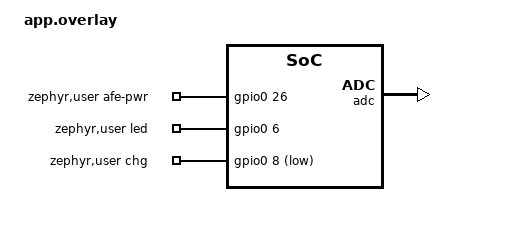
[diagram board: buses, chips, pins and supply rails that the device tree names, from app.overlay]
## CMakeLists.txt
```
#
# Discrete potentiostat firmware (nRF52832 SAADC, NCS)
# 3전극 정전위 크로노암페로메트리 — AD5941 없이 SAADC 직접측정
#
cmake_minimum_required(VERSION 3.20.0)

find_package(Zephyr REQUIRED HINTS $ENV{ZEPHYR_BASE})
project(discrete_pstat)

target_sources(app PRIVATE
	src/main.c
	src/meas.c                 # SAADC 측정 엔진 + AFE 전원 + 배터리
	src/store.c                # rf/os/cal NVM 영속화 (settings)
	src/databuf.c              # 무손실 데이터 버퍼 (AD5941 버전 재사용)
	src/flog.c                 # 플래시 오프라인 백로그 (웨어러블 동기화)
	src/cmd.c                  # JSON 명령 파서 (rf/os/zero/cal 확장)
)
```

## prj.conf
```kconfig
# ============================================================
#  디스크리트 포텐쇼스탯 (nRF52832 SAADC 직접측정)
#  BLE NUS 스트리밍 + RTT 로그 + NVM 설정 저장
# ============================================================

# ---- Bluetooth (BLE NUS) : AD5941 버전과 동일 구조 ----
CONFIG_BT=y
CONFIG_BT_PERIPHERAL=y
CONFIG_BT_DEVICE_NAME="pstat"
CONFIG_BT_NUS=y

# MTU / throughput (샘플 배치 한 줄이 기본 MTU 20B 를 넘으므로 크게)
CONFIG_BT_L2CAP_TX_MTU=247
CONFIG_BT_BUF_ACL_TX_SIZE=251
CONFIG_BT_BUF_ACL_RX_SIZE=251
CONFIG_BT_CTLR_DATA_LENGTH_MAX=251
CONFIG_BT_GATT_CLIENT=y

# HFXO 시동 대기시간 여유 (AD5941 보드 이력 계승 — 안전값)
CONFIG_MPSL_HFCLK_LATENCY=5000

# ---- Peripherals ----
CONFIG_GPIO=y
CONFIG_ADC=y
# SPI 없음 (AD5941 제거) — 명시적으로 끔
CONFIG_SPI=n
CONFIG_SERIAL=n

# ---- 부동소수점 (전류 환산/캘리브레이션) ----
CONFIG_FPU=y
CONFIG_CBPRINTF_FP_SUPPORT=y

# ---- LFCLK: 32.768kHz 크리스탈 미실장 → 내부 RC (+BLE 용 자동 캘리브레이션) ----
CONFIG_CLOCK_CONTROL_NRF_K32SRC_RC=y

# ---- 설정/캘리브레이션 NVM 저장 (rf_ohm / oversample / cal) ----
CONFIG_FLASH=y
CONFIG_FLASH_MAP=y
CONFIG_NVS=y
CONFIG_SETTINGS=y
CONFIG_SETTINGS_NVS=y

# ---- System OFF (배터리 컷오프) ----
CONFIG_POWEROFF=y

# ---- Logging: SEGGER RTT, non-blocking(overwrite) ----
CONFIG_LOG=y
CONFIG_USE_SEGGER_RTT=y
CONFIG_LOG_BACKEND_RTT=y
CONFIG_LOG_BACKEND_RTT_MODE_OVERWRITE=y
CONFIG_SEGGER_RTT_BUFFER_SIZE_UP=2048
CONFIG_LOG_MODE_DEFERRED=y

# ---- Stacks ----
CONFIG_MAIN_STACK_SIZE=4096
CONFIG_HEAP_MEM_POOL_SIZE=2048
CONFIG_FLASH_PAGE_LAYOUT=y
```

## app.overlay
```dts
/*
 * ============================================================
 *  디스크리트 포텐쇼스탯 보드 — nRF52832 배선 정의
 *  (사용자 회로도 2026-07-12 확정 핀맵)
 *  ------------------------------------------------------------
 *  기능             넷           nRF52832 핀    비고
 *  ---------------  -----------  ------------   ----------------------
 *  SAADC 차동 +     TIA_OUT      P0.02 / AIN0   ΔV = I×RF
 *  SAADC 차동 −     VREF 1.024V  P0.03 / AIN1   REF35102 출력
 *  VBAT 모니터      VBAT_DIV     P0.04 / AIN2   1M:1M 분압 (VBAT/2)
 *  Qi 패드 감지     Charge       P0.05 / AIN3   MCP73832_VDD(≈5V) 1M:1M 분압
 *  AFE 전원(AVDD)   AVDD         P0.26          high-drive, REF35+LPV802 (~2µA)
 *  충전 상태        GPIO(STAT)   P0.08          MCP73832 STAT, 100k 풀업, LOW=충전중
 *  상태 LED(옵션)   —            P0.06          기본 미실장 — 실장 시 그대로 동작
 *  RESET/SWDIO/SWDCLK = 표준 SWD
 *
 *  AD5941 없음 → SPI 없음. 32.768kHz 크리스탈 없음 → LFRC (prj.conf).
 *  DCC 핀 미접속(인덕터 없음) → LDO 모드 (기본값 — &reg 오버라이드 금지).
 * ============================================================
 */

#include <zephyr/dt-bindings/gpio/nordic-nrf-gpio.h>

/* 플래시 오프라인 백로그 파티션 (flog.c) — 96KB, storage(settings) 바로 앞.
 * 앱 이미지는 0x62000(392KB) 아래에 있어야 함 — 빌드 후 FLASH 사용량 확인 */
&flash0 {
	partitions {
		flog_partition: partition@62000 {
			label = "flog";
			reg = <0x00062000 0x00018000>;
		};
	};
};

/* SAADC 활성화 (채널 구성은 meas.c 에서 런타임 — 게인 오토레인지 때문) */
&adc {
	status = "okay";
};

/* 미사용 주변장치 비활성 (DK 기본 dts 가 켜두는 것들 — 전력/핀 절약) */
&uart0 {
	status = "disabled";
};
&spi1 {
	status = "disabled";
};
&i2c0 {
	status = "disabled";
};

/ {
	zephyr,user {
		/* AVDD 직접 급전: 부하 ~2µA (REF35 VIN 100nF + LPV802 100nF) */
		afe-pwr-gpios = <&gpio0 26 (GPIO_ACTIVE_HIGH | NRF_GPIO_DRIVE_H0H1)>;
		led-gpios     = <&gpio0 6 GPIO_ACTIVE_HIGH>;  /* 옵션 — 미실장이어도 무해 */
		/* STAT 오픈드레인 + 외부 100k 풀업 → 내부 풀 불필요, LOW=충전중 */
		chg-gpios     = <&gpio0 8 GPIO_ACTIVE_LOW>;
	};
};
```

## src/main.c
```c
/*
 * ============================================================
 *  디스크리트 크로노암페로메트리 포텐쇼스탯 — 앱 제어형
 *  (nRF52832 SAADC 직접측정 — AD5941 없음)
 *  ------------------------------------------------------------
 *  - 전위 +0.512V 하드웨어 고정 (REF35102 1.024V + 1:1 분압)
 *  - LPV802 TIA (RF 교체가능: 1M/5.1M/10M) → SAADC 차동 (AIN0−AIN1)
 *  - SAADC 게인 오토레인지 {4, 1, 1/2} + 히스테리시스 + settle 폐기
 *  - HW 오버샘플링(런타임 설정) + 시간기반 페이싱 소프트 평균
 *  - 실행모드: Continuous / Timed / Cycle (대기중 AFE 전원 off = 분극 방지)
 *  - BLE NUS: JSON 명령(start/stop/config/ack/status/zero/cal),
 *    무손실 스트림 {"d":[[seq,t_ms,nA,range],...]} — AD5941 버전과 포맷 동일
 *  - 측정 파라미터 앱 제어: rate/mode/auto/range + rf/os (NVM 저장)
 *  - 캘리브레이션: zero(게인별 오프셋) / cal(더미셀 스케일) — NVM 저장
 *  - 배터리: VBAT 분압 감시, <3.3V 경고+start 거부, <3.0V System OFF
 *
 *  구조: meas_thread = AFE 전원+SAADC 측정 -> databuf 적재
 *        main loop   = databuf -> BLE 전송(무손실) + 상태/배터리 보고
 *        nus_received= JSON 명령 파싱 -> 상태머신/ACK/캘리브레이션 신호
 * ============================================================
 */

#include <zephyr/kernel.h>
#include <zephyr/sys/util.h>
#include <zephyr/sys/atomic.h>
#include <zephyr/sys/poweroff.h>
#include <zephyr/logging/log.h>

#include <zephyr/bluetooth/bluetooth.h>
#include <zephyr/bluetooth/conn.h>
#include <zephyr/bluetooth/gatt.h>
#include <bluetooth/services/nus.h>

#include "pstat.h"
#include "meas.h"
#include "store.h"
#include "databuf.h"
#include "flog.h"
#include "cmd.h"

LOG_MODULE_REGISTER(pstat, LOG_LEVEL_INF);

/* ===================== 고정 상수 ===================== */
#define BIAS_MV        512.0f   /* 인가 전위 V(WE)-V(RE) = +0.512V (하드웨어 고정) */
#define AFE_SETTLE_MS  50       /* AFE_PWR on -> REF/앰프/RC 안정화 대기 */

/* 오토레인지 임계 (|ΔV| / FS 비율) — 게인비 4×/2× 에서 진동 없는 값 */
#define SAT_HI_FRAC    0.85f    /* 초과 시 게인 다운 (범위↑) */
#define SAT_LO_FRAC    0.18f    /* 미만 시 게인 업 (감도↑) */
#define AR_SETTLE      4        /* 게인 변경 후 '결정' 억제 샘플 수 */
#define RANGE_FLUSH    1        /* 게인 변경 직후 버릴 변환 수 */

/* 배터리 정책 (LIR2032 무보호 셀 — 펌웨어가 과방전 보호) */
#define VBAT_WARN_MV   3300     /* 경고 + 신규 start 거부 */
#define VBAT_CUT_MV    3000     /* 데이터 플러시 후 System OFF */
#define VBAT_PERIOD_MS 600000   /* 10분 */

/* BLE 연결간격 (1.25ms 단위), supervision timeout (10ms 단위)
 * — AD5941 버전에서 검증된 상시 빠른 간격 유지 (전환 지연/타임아웃 회피) */
#define CONN_FAST_MIN  24       /* 30ms */
#define CONN_FAST_MAX  40       /* 50ms */
#define CONN_REST_MIN  24
#define CONN_REST_MAX  40
#define CONN_TIMEOUT   500      /* 5000ms (iOS: interval*3 < timeout) */

/* ===================== 상태 ===================== */
static atomic_t g_state = ATOMIC_INIT(PSTAT_IDLE);
static volatile bool stop_req;
static K_SEM_DEFINE(start_sem, 0, 1);

static struct pstat_config g_cfg = {  /* 기본값 (rf/os 는 NVM 이 덮음) */
	.rate_hz = 10, .mode = PSTAT_MODE_CONTINUOUS, .autorange = true,
	.range_idx = 0, .duration_s = 60, .on_s = 5, .off_s = 295, .cycles = 0,
	.rf_ohm = 2000000, .oversample = 64,
};
static struct pstat_cal g_cal = { .scale = 1.0f, .off_nA = { 0 } };
static K_MUTEX_DEFINE(cfg_lock);

static struct pstat_config rc;   /* run copy (run() 진입 시 스냅샷) */
static int      cur_range;       /* 현재 게인 인덱스 (0=최고감도) */
static int      ar_settle;       /* 오토레인지 결정 억제 카운터 */
static int      range_flush;     /* 게인 변경 후 버릴 변환 수 */
static uint32_t run_t0;
static uint32_t run_cycle;
static uint32_t next_due;        /* 시간기반 페이싱: 다음 출력샘플 마감 */
static volatile bool status_req;
static volatile uint8_t cal_req;      /* 0=없음 1=zero 2=scale */
static volatile uint32_t cal_kohm;
static int      g_vbat_mv = -1;       /* 최근 배터리 전압 (main loop 갱신) */
static bool     low_batt;             /* <VBAT_WARN_MV */

/* ===================== BLE 전방선언 ===================== */
static struct bt_conn *current_conn;
static K_MUTEX_DEFINE(conn_lock);
static volatile bool notif_enabled;
static void ble_set_fast(bool fast);
static int tx_nus(const uint8_t *data, uint16_t len);

static struct bt_conn *conn_get(void)
{
	struct bt_conn *c = NULL;
	k_mutex_lock(&conn_lock, K_FOREVER);
	if (current_conn) {
		c = bt_conn_ref(current_conn);
	}
	k_mutex_unlock(&conn_lock);
	return c;
}

/* ===================== 측정 코어 (SAADC) ===================== */

/* ΔV[V] -> 전류[nA] (RF/캘리브레이션 반영) */
static float dv_to_nA(float dv)
{
	float raw = (dv / (float)rc.rf_ohm) * 1e9f;
	return raw * g_cal.scale - g_cal.off_nA[cur_range];
}

static void apply_range(int idx)
{
	if (meas_set_gain(idx) == 0) {
		cur_range = idx;
		ar_settle = AR_SETTLE;
		range_flush = RANGE_FLUSH;
	}
}

static void autorange_update(float dv)
{
	if (ar_settle > 0) {
		ar_settle--;
		return;
	}
	float av = (dv < 0) ? -dv : dv;
	float fs = meas_fs_volts();
	if (av > SAT_HI_FRAC * fs && cur_range < GAIN_N - 1) {
		apply_range(cur_range + 1);   /* 감도↓ 범위↑ */
	} else if (av < SAT_LO_FRAC * fs && cur_range > 0) {
		apply_range(cur_range - 1);   /* 감도↑ */
	}
}

/* AFE 전원 on + 초기 게인 + 안정화 */
static void afe_start(int range_idx)
{
	afe_power(true);
	k_msleep(AFE_SETTLE_MS);
	cur_range = -1;               /* meas_set_gain 강제 적용 */
	apply_range(range_idx);
	/* 파이프라인/RC 안정화: 첫 변환 몇 개 폐기 */
	float dv;
	for (int i = 0; i < 3 && !stop_req; i++) {
		meas_read_dv(rc.oversample, &dv);
	}
	range_flush = 0;
}

static void afe_stop(void)
{
	afe_power(false);   /* 소모 0 + CE 구동 차단 → 전극 분극 방지 */
}

/* 한 출력샘플: next_due 까지 도착한 HW 오버샘플 변환을 전부 평균해
 * 정확히 rate_hz 로 출력 (AD5941 버전의 SINC2 페이싱과 동일 구조) */
static bool sample_once(struct pstat_sample *smp)
{
	uint32_t period_ms = 1000U / rc.rate_hz;
	float vsum = 0.0f;
	int cnt = 0;
	float dv = 0.0f;

	while (range_flush > 0) {     /* 게인 세틀 구간 폐기 */
		if (stop_req || meas_read_dv(rc.oversample, &dv) != 0) {
			return false;
		}
		range_flush--;
	}

	do {
		if (stop_req) {
			return false;
		}
		if (meas_read_dv(rc.oversample, &dv) != 0) {
			return false;
		}
		vsum += dv;
		cnt++;
	} while ((int32_t)(k_uptime_get_32() - next_due) < 0);

	next_due += period_ms;
	if ((int32_t)(k_uptime_get_32() - next_due) > (int32_t)period_ms) {
		next_due = k_uptime_get_32() + period_ms;   /* 밀림 재동기화 */
	}

	float vavg = vsum / (float)cnt;
	smp->current_nA = dv_to_nA(vavg);
	smp->t_ms       = k_uptime_get_32() - run_t0;
	smp->range_idx  = (uint8_t)cur_range;
	if (rc.autorange) {
		autorange_update(vavg);
	}
	return true;
}

static void measure_phase(uint32_t dur_ms)
{
	uint32_t t0 = k_uptime_get_32();
	struct pstat_sample smp;

	/* 요약(agg) 모드: raw 를 버리고 측정구간당 1샘플만 남긴다.
	 * Q(t)=∫I·dt (사다리꼴) 를 구간 후반 50% 에서 선형회귀 →
	 * 기울기 = 노이즈에 견고한 정상상태 전류 [nA] (끝값의 강건 버전).
	 * 구간 길이를 알아야 하므로 CYCLE/TIMED 전용 (dur_ms=0 이면 raw). */
	bool agg = rc.agg && dur_ms;
	float  q = 0.0f, prev_i = 0.0f;
	uint32_t prev_t = 0;
	bool   have_prev = false;
	double st = 0, st2 = 0, sq = 0, stq = 0;
	uint32_t n = 0;
	uint32_t phase0 = t0 - run_t0;        /* smp.t_ms 기준 구간 시작 */
	uint32_t fit_from = dur_ms / 2;       /* 후반 50% 만 피팅 (과도응답 제외) */

	next_due = t0 + 1000U / rc.rate_hz;

	while (!stop_req) {
		if (dur_ms && (k_uptime_get_32() - t0) >= dur_ms) {
			break;
		}
		if (!sample_once(&smp)) {
			break;
		}
		if (!agg) {
			databuf_push(&smp);
			continue;
		}
		if (have_prev) {
			q += 0.5f * (smp.current_nA + prev_i) *
			     (float)(smp.t_ms - prev_t) * 1e-3f;   /* [nA·s] */
		}
		prev_i = smp.current_nA;
		prev_t = smp.t_ms;
		have_prev = true;

		uint32_t ph_ms = smp.t_ms - phase0;
		if (ph_ms >= fit_from) {
			double ts = (double)(ph_ms - fit_from) * 1e-3;
			st  += ts;
			st2 += ts * ts;
			sq  += q;
			stq += ts * q;
			n++;
		}
	}

	if (agg && n >= 2) {
		double den = (double)n * st2 - st * st;
		/* 회귀 불능(구간 극단·중단)이면 마지막 전류로 폴백 */
		smp.current_nA = (den > 1e-12) ?
			(float)(((double)n * stq - st * sq) / den) : prev_i;
		smp.t_ms = k_uptime_get_32() - run_t0;
		/* smp.range_idx = 마지막 게인 그대로 */
		databuf_push(&smp);
	}
}

static void rest_delay(uint32_t ms)
{
	uint32_t t0 = k_uptime_get_32();
	while (!stop_req && (k_uptime_get_32() - t0) < ms) {
		k_msleep(50);
	}
}

static void run_once(void)
{
	int start_idx = rc.autorange ? 0 : CLAMP(rc.range_idx, 0, GAIN_N - 1);

	databuf_reset();
	run_t0 = k_uptime_get_32();
	run_cycle = 0;
	ble_set_fast(true);
	atomic_set(&g_state, PSTAT_RUN);
	status_req = true;
	led_set(true);

	if (rc.mode == PSTAT_MODE_CONTINUOUS) {
		afe_start(start_idx);
		measure_phase(0);
		afe_stop();
	} else if (rc.mode == PSTAT_MODE_TIMED) {
		afe_start(start_idx);
		measure_phase(rc.duration_s * 1000U);
		afe_stop();
	} else { /* CYCLE */
		int idx = start_idx;
		while (!stop_req) {
			run_cycle++;
			atomic_set(&g_state, PSTAT_RUN);
			ble_set_fast(true);
			led_set(true);
			/* 웜업(settle+프라이밍)을 on_s 에 포함 → 주기 길이 정확 */
			uint32_t t_on0 = k_uptime_get_32();
			afe_start(idx);
			uint32_t warm = k_uptime_get_32() - t_on0;
			uint32_t on_ms = rc.on_s * 1000U;
			measure_phase(on_ms > warm ? on_ms - warm : 1);
			afe_stop();
			if (rc.autorange) {
				idx = cur_range;   /* 수렴 게인을 다음 주기로 유지 */
			}
			if (stop_req) {
				break;
			}
			if (rc.cycles && run_cycle >= rc.cycles) {
				break;
			}
			atomic_set(&g_state, PSTAT_CYCLE_REST);
			status_req = true;
			ble_set_fast(false);
			led_set(false);
			rest_delay(rc.off_s * 1000U);
		}
	}

	atomic_set(&g_state, PSTAT_IDLE);
	status_req = true;
	ble_set_fast(false);
	led_set(false);
	LOG_INF("run finished (cycles=%u)", run_cycle);
}

/* ===================== 캘리브레이션 ===================== */

/* 게인별로 N 회 평균 ΔV[V] (AFE 는 이미 on 상태 가정) */
static float avg_dv(int gain_idx, int n)
{
	apply_range(gain_idx);
	float dv, sum = 0.0f;
	int k = 0;
	for (int i = 0; i < RANGE_FLUSH + 2; i++) {
		meas_read_dv(rc.oversample, &dv);   /* settle 폐기 */
	}
	range_flush = 0;
	for (int i = 0; i < n; i++) {
		if (meas_read_dv(rc.oversample, &dv) == 0) {
			sum += dv;
			k++;
		}
	}
	return k ? (sum / (float)k) : 0.0f;
}

/* zero: 셀 오픈(전극 미연결) 상태에서 게인별 오프셋 저장.
 * cal:  기지저항 R[kΩ] 더미셀 → 기대 I = 512mV/R, scale = 기대/측정 */
static void do_calibration(uint8_t kind, uint32_t kohm)
{
	char line[96];
	int n;

	k_mutex_lock(&cfg_lock, K_FOREVER);
	rc = g_cfg;   /* 최신 rf/os 반영 */
	k_mutex_unlock(&cfg_lock);

	afe_power(true);
	k_msleep(AFE_SETTLE_MS * 2);

	if (kind == 1) {          /* zero */
		for (int g = 0; g < GAIN_N; g++) {
			float dv = avg_dv(g, 64);
			g_cal.off_nA[g] = (dv / (float)rc.rf_ohm) * 1e9f * g_cal.scale;
		}
		store_save_cal(&g_cal);
		n = snprintk(line, sizeof(line),
			"{\"cal\":\"zero\",\"off\":[%.3f,%.3f,%.3f]}\n",
			(double)g_cal.off_nA[0], (double)g_cal.off_nA[1],
			(double)g_cal.off_nA[2]);
		tx_nus(line, n);
	} else {                  /* scale (기지저항) */
		float i_exp = (BIAS_MV * 1e6f) / ((float)kohm * 1000.0f); /* nA */
		float dv_exp = i_exp * (float)rc.rf_ohm / 1e9f;           /* V */
		/* 기대 ΔV 가 FS 의 60% 이내인 최고감도 게인 자동 선택 */
		static const float fs_v[GAIN_N] = { 0.15f, 0.6f, 1.2f };
		int g = GAIN_N - 1;
		for (int i = 0; i < GAIN_N; i++) {
			if (dv_exp < 0.6f * fs_v[i]) {
				g = i;
				break;
			}
		}
		float dv = avg_dv(g, 64);
		float i_raw = (dv / (float)rc.rf_ohm) * 1e9f - g_cal.off_nA[g] / g_cal.scale;
		if (i_raw > 0.01f) {
			g_cal.scale = i_exp / i_raw;
			g_cal.scale = CLAMP(g_cal.scale, 0.5f, 2.0f);
			store_save_cal(&g_cal);
		}
		n = snprintk(line, sizeof(line),
			"{\"cal\":\"scale\",\"exp_nA\":%.1f,\"meas_nA\":%.1f,\"scale\":%.4f}\n",
			(double)i_exp, (double)i_raw, (double)g_cal.scale);
		tx_nus(line, n);
	}

	afe_power(false);
	LOG_INF("calibration done (kind=%u)", kind);
}

/* ===================== 측정 스레드 ===================== */
static void meas_thread(void)
{
	while (1) {
		k_sem_take(&start_sem, K_FOREVER);

		if (cal_req) {                       /* 캘리브레이션 요청 */
			uint8_t kind = cal_req;
			cal_req = 0;
			do_calibration(kind, cal_kohm);
			atomic_set(&g_state, PSTAT_IDLE);
			status_req = true;
			continue;
		}

		k_mutex_lock(&cfg_lock, K_FOREVER);
		rc = g_cfg;   /* 스냅샷 */
		k_mutex_unlock(&cfg_lock);
		if (rc.rate_hz == 0) {
			rc.rate_hz = 1;
		}
		if (rc.oversample == 0) {
			rc.oversample = 1;
		}
		LOG_INF("START mode=%u rate=%uHz auto=%d rf=%u os=%u dur=%us on=%us off=%us cyc=%u",
			rc.mode, rc.rate_hz, (int)rc.autorange, rc.rf_ohm,
			rc.oversample, rc.duration_s, rc.on_s, rc.off_s, rc.cycles);
		run_once();
	}
}
K_THREAD_DEFINE(meas_tid, 3072, meas_thread, NULL, NULL, NULL, 5, 0, 0);

/* ===================== BLE ===================== */
#define DEVICE_NAME     CONFIG_BT_DEVICE_NAME
#define DEVICE_NAME_LEN (sizeof(DEVICE_NAME) - 1)

static const struct bt_data ad[] = {
	BT_DATA_BYTES(BT_DATA_FLAGS, (BT_LE_AD_GENERAL | BT_LE_AD_NO_BREDR)),
	BT_DATA(BT_DATA_NAME_COMPLETE, DEVICE_NAME, DEVICE_NAME_LEN),
};
static const struct bt_data sd[] = {
	BT_DATA_BYTES(BT_DATA_UUID128_ALL, BT_UUID_NUS_VAL),
};

static void start_advertising(void)
{
	int err = bt_le_adv_start(BT_LE_ADV_CONN_FAST_1, ad, ARRAY_SIZE(ad),
				  sd, ARRAY_SIZE(sd));
	if (err) {
		LOG_ERR("adv start failed (%d)", err);
	} else {
		LOG_INF("Advertising as '%s'", DEVICE_NAME);
	}
}
static void adv_work_handler(struct k_work *work) { start_advertising(); }
static K_WORK_DEFINE(adv_work, adv_work_handler);

static void ble_set_fast(bool fast)
{
	struct bt_conn *c = conn_get();
	if (!c) {
		return;
	}
	int err = fast
		? bt_conn_le_param_update(c, BT_LE_CONN_PARAM(CONN_FAST_MIN, CONN_FAST_MAX, 0, CONN_TIMEOUT))
		: bt_conn_le_param_update(c, BT_LE_CONN_PARAM(CONN_REST_MIN, CONN_REST_MAX, 0, CONN_TIMEOUT));
	if (err) {
		LOG_WRN("conn param update (%s) req failed (%d)", fast ? "fast" : "rest", err);
	}
	bt_conn_unref(c);
}

static void mtu_exchange_cb(struct bt_conn *conn, uint8_t err,
			    struct bt_gatt_exchange_params *params)
{
	LOG_INF("MTU exchange %s -> %u", err ? "FAIL" : "OK", bt_gatt_get_mtu(conn));
}
static struct bt_gatt_exchange_params mtu_exchange_params;

static void connected(struct bt_conn *conn, uint8_t err)
{
	if (err) {
		LOG_ERR("Connection failed (err %u)", err);
		k_work_submit(&adv_work);
		return;
	}
	k_mutex_lock(&conn_lock, K_FOREVER);
	current_conn = bt_conn_ref(conn);
	k_mutex_unlock(&conn_lock);
	notif_enabled = false;
	LOG_INF("Connected (MTU=%u)", bt_gatt_get_mtu(conn));

	mtu_exchange_params.func = mtu_exchange_cb;
	bt_gatt_exchange_mtu(conn, &mtu_exchange_params);

	databuf_rewind_unsent();
	ble_set_fast(atomic_get(&g_state) == PSTAT_RUN);
}

static void disconnected(struct bt_conn *conn, uint8_t reason)
{
	LOG_INF("Disconnected (reason %u) — 측정 계속, 버퍼 누적", reason);
	notif_enabled = false;
	k_mutex_lock(&conn_lock, K_FOREVER);
	if (current_conn) {
		bt_conn_unref(current_conn);
		current_conn = NULL;
	}
	k_mutex_unlock(&conn_lock);
	k_work_submit(&adv_work);
}

BT_CONN_CB_DEFINE(conn_callbacks) = {
	.connected = connected,
	.disconnected = disconnected,
};

static void nus_received(struct bt_conn *conn, const uint8_t *data, uint16_t len)
{
	struct cmd c;
	struct pstat_config base;

	k_mutex_lock(&cfg_lock, K_FOREVER);
	base = g_cfg;
	k_mutex_unlock(&cfg_lock);

	if (!cmd_parse((const char *)data, len, &c, &base)) {
		LOG_WRN("cmd parse fail (%u B)", len);
		return;
	}

	switch (c.type) {
	case CMD_ACK:
		/* 플래시 백로그 재생중엔 ack 가 그 배치를 가리킴 — 해제는
		 * 메인루프가 수행 (플래시 접근은 메인루프 전용) */
		if (fl_wait && c.ack_seq == fl_wait_seq) {
			fl_acked = true;
			break;
		}
		if (atomic_get(&g_state) != PSTAT_RUN &&
		    (fl_wait || flog_pending() > 0)) {
			/* 재생 국면(비측정+백로그)의 기타 ack: 옛 세션 seq 가 라이브
			 * seq 와 겹칠 수 있으므로 RAM 에 적용 금지 (오해제 방지).
			 * 측정 중엔 라이브 스트림의 ack 이므로 정상 적용. */
			break;
		}
		databuf_ack(c.ack_seq);
		break;
	case CMD_STOP:
		stop_req = true;
		LOG_INF("cmd: stop");
		break;
	case CMD_CONFIG:
		k_mutex_lock(&cfg_lock, K_FOREVER);
		g_cfg = c.cfg;
		k_mutex_unlock(&cfg_lock);
		if (c.hw_changed) {
			store_save_hw(&c.cfg);   /* rf/os 는 NVM 영속화 */
			LOG_INF("cmd: config (rf=%u os=%u saved)", c.cfg.rf_ohm,
				c.cfg.oversample);
		} else {
			LOG_INF("cmd: config");
		}
		break;
	case CMD_START:
		k_mutex_lock(&cfg_lock, K_FOREVER);
		g_cfg = c.cfg;
		k_mutex_unlock(&cfg_lock);
		if (c.hw_changed) {
			store_save_hw(&c.cfg);
		}
		if (low_batt) {
			LOG_WRN("cmd: start 거부 (저전압 %dmV)", g_vbat_mv);
			status_req = true;
			break;
		}
		if (atomic_cas(&g_state, PSTAT_IDLE, PSTAT_RUN)) {
			stop_req = false;
			k_sem_give(&start_sem);
			LOG_INF("cmd: start");
		} else {
			LOG_WRN("cmd: start 무시 (이미 실행중 — stop 먼저)");
		}
		break;
	case CMD_ZERO:
	case CMD_CAL:
		if (atomic_cas(&g_state, PSTAT_IDLE, PSTAT_RUN)) {
			cal_req = (c.type == CMD_ZERO) ? 1 : 2;
			cal_kohm = c.cal_kohm;
			stop_req = false;
			k_sem_give(&start_sem);
			LOG_INF("cmd: cal (kind=%u kohm=%u)", cal_req, cal_kohm);
		} else {
			LOG_WRN("cmd: cal 무시 (측정중 — stop 먼저)");
		}
		break;
	case CMD_STATUS:
		status_req = true;
		break;
	default:
		break;
	}
}

static void nus_send_enabled(enum bt_nus_send_status status)
{
	notif_enabled = (status == BT_NUS_SEND_STATUS_ENABLED);
	LOG_INF("NUS notify %s", notif_enabled ? "ENABLED" : "disabled");
}

static struct bt_nus_cb nus_cb = {
	.received = nus_received,
	.send_enabled = nus_send_enabled,
};

static int tx_nus(const uint8_t *data, uint16_t len)
{
	if (!notif_enabled) {
		return -ENOTCONN;
	}
	struct bt_conn *c = conn_get();
	if (!c) {
		return -ENOTCONN;
	}
	int err = bt_nus_send(c, data, len);
	bt_conn_unref(c);
	return err;
}

/* ===================== 데이터/상태 전송 ===================== */
#define BATCH_MAX   5
#define DRAIN_ITERS 8
#define FL_ACK_TICKS 100   /* 플래시 배치 ack 대기 2s (20ms tick) — 초과 시 재전송 */

/* 플래시 백로그 재생 상태 (stop-and-wait: 배치 ack 후 다음 배치) */
static volatile bool     fl_wait;      /* 배치 전송 후 ack 대기중 */
static volatile bool     fl_acked;     /* BLE 스레드가 ack 수신 표시 */
static volatile uint32_t fl_wait_seq;  /* 대기중 배치의 마지막 seq */
static uint32_t          fl_wait_n;
static uint32_t          fl_wait_tick;

/* 샘플 배치 → {"d":[...]} 전송. 0=성공 */
static int send_batch(const struct pstat_sample *b, uint32_t k)
{
	static char dline[256];
	int o = snprintk(dline, sizeof(dline), "{\"d\":[");
	for (uint32_t i = 0; i < k; i++) {
		size_t rem = (o < (int)sizeof(dline)) ? sizeof(dline) - o : 0;
		o += snprintk(dline + o, rem, "%s[%u,%u,%.3f,%u]",
			i ? "," : "", b[i].seq, b[i].t_ms,
			(double)b[i].current_nA, b[i].range_idx);
	}
	{
		size_t rem = (o < (int)sizeof(dline)) ? sizeof(dline) - o : 0;
		o += snprintk(dline + o, rem, "]}\n");
	}
	if (o >= (int)sizeof(dline)) {
		return -EMSGSIZE;
	}
	return tx_nus(dline, o);
}

static void tx_status(void)
{
	char line[256];
	const char *st = "idle";
	uint8_t mode;
	uint16_t rate;
	uint32_t rf;
	uint16_t os;

	enum pstat_state s = (enum pstat_state)atomic_get(&g_state);
	if (s == PSTAT_RUN) {
		st = "run";
	} else if (s == PSTAT_CYCLE_REST) {
		st = "rest";
	}
	uint8_t agg;
	k_mutex_lock(&cfg_lock, K_FOREVER);
	mode = rc.mode;
	rate = rc.rate_hz;
	rf   = g_cfg.rf_ohm;
	os   = g_cfg.oversample;
	agg  = g_cfg.agg;
	k_mutex_unlock(&cfg_lock);

	int n = snprintk(line, sizeof(line),
		"{\"st\":\"%s\",\"mode\":%u,\"rate\":%u,\"cyc\":%u,\"range\":%d,"
		"\"pend\":%u,\"buf\":%u,\"gap\":%d,"
		"\"vbat\":%d,\"chg\":%d,\"qi\":%d,\"lb\":%d,\"rf\":%u,\"os\":%u,"
		"\"fpend\":%u,\"agg\":%u}\n",
		st, mode, rate, run_cycle, cur_range,
		databuf_pending(), databuf_unacked(),
		(int)(databuf_gap() || flog_gap()),
		g_vbat_mv, (int)meas_charging(), (int)meas_qi_present(),
		(int)low_batt, rf, os, flog_pending(), agg);
	tx_nus(line, n);
}

/* 배터리 감시: 경고/컷오프. 컷오프 시 측정 정지→플러시 대기→System OFF */
static void battery_check(void)
{
	int mv = meas_vbat_mv();
	if (mv < 0) {
		return;
	}
	g_vbat_mv = mv;
	bool lb = (mv < VBAT_WARN_MV);
	if (lb != low_batt) {
		low_batt = lb;
		status_req = true;
		LOG_WRN("battery %dmV (%s)", mv, lb ? "LOW" : "ok");
	}
	if (mv < VBAT_CUT_MV && !meas_charging()) {
		LOG_ERR("battery cutoff (%dmV) — flush 후 System OFF", mv);
		stop_req = true;
		/* 남은 데이터 플러시 기회 (연결돼 있으면 main loop 가 전송) */
		for (int i = 0; i < 100 && databuf_pending(); i++) {
			k_msleep(100);
		}
		afe_power(false);
		led_set(false);
		sys_poweroff();   /* 복귀 = 리셋(충전 후 전원 재투입) */
	}
}

int main(void)
{
	int err;

	LOG_INF("=== discrete potentiostat (nRF52832 SAADC, app-controlled) ===");

	if (meas_init() != 0) {
		LOG_ERR("meas init failed");
		return 0;
	}
	store_init(&g_cfg, &g_cal);   /* NVM 에서 rf/os/cal 로드 */

	err = bt_enable(NULL);
	if (err) {
		LOG_ERR("bt_enable failed (%d)", err);
		return 0;
	}
	bt_nus_init(&nus_cb);
	start_advertising();
	battery_check();
	flog_init();   /* 플래시 백로그 복원 (실패해도 RAM 전용으로 계속 동작) */
	LOG_INF("ready. rf=%u os=%u scale=%.4f vbat=%dmV",
		g_cfg.rf_ohm, g_cfg.oversample, (double)g_cal.scale, g_vbat_mv);

	uint32_t tick = 0;
	struct pstat_sample batch[BATCH_MAX];

	while (1) {
		k_msleep(20);
		tick++;

		/* 배터리: 10분마다 (측정 중에도 — SAADC 채널 분리라 간섭 없음) */
		if ((tick % (VBAT_PERIOD_MS / 20)) == 0) {
			battery_check();
		}
		/* 유휴+미연결: LED 짧은 블링크 (광고 표시) */
		if (!current_conn && atomic_get(&g_state) == PSTAT_IDLE) {
			led_set((tick % 100) < 3);   /* 2초마다 60ms */
		}

		if (!current_conn || !notif_enabled) {
			fl_wait = false;    /* 재연결하면 백로그 tail 부터 다시 */
			fl_acked = false;
			/* 오프라인: RAM 링 → 플래시 백로그 이동 (웨어러블 핵심 경로).
			 * 옮긴 만큼 RAM 에서 해제 → RAM 은 짧은 대기실 역할만 */
			for (int it = 0; it < DRAIN_ITERS; it++) {
				uint32_t base;
				uint32_t k = databuf_peek_batch(batch, BATCH_MAX, &base);
				if (k == 0) {
					break;
				}
				uint32_t ok = 0;
				while (ok < k && flog_push(&batch[ok]) == 0) {
					ok++;
				}
				if (ok > 0) {
					databuf_commit_sent(base, ok);
					databuf_ack(base + ok - 1);
				}
				if (ok < k) {
					break;   /* 플래시 사용불가 → RAM 링 유지(기존 동작) */
				}
			}
			if ((tick % 250) == 0) {
				LOG_INF("alive up=%us state=%ld fpend=%u buf=%u vbat=%d conn=%d",
					k_uptime_get_32() / 1000U, atomic_get(&g_state),
					flog_pending(), databuf_unacked(),
					g_vbat_mv, current_conn ? 1 : 0);
			}
			continue;
		}

		/* 연결됨: 플래시 백로그 재생은 **측정 중이 아닐 때만** (IDLE/휴지기).
		 * 이유: ① 코인셀 IR 로 라디오 버스트가 전압 새그 유발 — 측정 부하와
		 * 겹치지 않게, ② 재생 라디오 노이즈가 아날로그 측정에 침투 방지.
		 * stop-and-wait: 배치 ack 확인 후 다음 배치 (ack 유실 시 재전송,
		 * 중복은 앱 파서가 seq 로 걸러냄). */
		bool measuring = (atomic_get(&g_state) == PSTAT_RUN);

		if (measuring) {
			fl_wait = false;    /* 재생 일시정지 — 측정 끝나면 tail 부터 재개 */
			fl_acked = false;
		} else {
			if (fl_wait) {
				if (fl_acked) {
					flog_free_batch(fl_wait_n);
					fl_wait = false;
					fl_acked = false;
				} else if ((uint32_t)(tick - fl_wait_tick) > FL_ACK_TICKS) {
					fl_wait = false;   /* 타임아웃 → 같은 배치 재전송 */
				}
			}
			if (!fl_wait && flog_pending() > 0) {
				uint32_t k = flog_peek_batch(batch, BATCH_MAX);
				if (k == 0) {
					flog_free_batch(1);   /* 손상 레코드 스킵 (livelock 방지) */
				} else if (send_batch(batch, k) == 0) {
					fl_wait = true;
					fl_acked = false;
					fl_wait_seq = batch[k - 1].seq;
					fl_wait_n = k;
					fl_wait_tick = tick;
				}
			}
		}

		/* 라이브 드레인 (무손실: 전송 성공한 배치만 절대위치 commit).
		 * 측정 중엔 항상 (백로그는 일시정지 상태) / 유휴·휴지기엔
		 * 백로그가 다 빠진 뒤에만 — 시간순 보존 */
		if (measuring || (!fl_wait && flog_pending() == 0)) {
			for (int it = 0; it < DRAIN_ITERS; it++) {
				uint32_t base;
				uint32_t k = databuf_peek_batch(batch, BATCH_MAX, &base);
				if (k == 0) {
					break;
				}
				if (send_batch(batch, k) == 0) {
					databuf_commit_sent(base, k);
				} else {
					break;
				}
			}
		}

		if (status_req || (tick % 50) == 0) {
			status_req = false;
			tx_status();
		}
	}
	return 0;
}
```

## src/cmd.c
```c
/*
 * cmd.c — 소형 JSON 명령 파서 (고정 스키마 전용, 범용 아님)
 *  AD5941 버전과 동일 구조 + rf/os/zero/cal 확장.
 */
#include "cmd.h"
#include <zephyr/sys/util.h>
#include <stdlib.h>
#include <string.h>
#include <stdio.h>

/* "key" 뒤 콜론 다음 값의 시작 포인터 반환 (없으면 NULL) */
static const char *jfind(const char *buf, const char *key)
{
	char pat[24];
	snprintf(pat, sizeof(pat), "\"%s\"", key);
	const char *p = strstr(buf, pat);
	if (!p) {
		return NULL;
	}
	p += strlen(pat);
	while (*p && *p != ':') {
		p++;
	}
	if (*p != ':') {
		return NULL;
	}
	p++;
	while (*p == ' ' || *p == '\t') {
		p++;
	}
	return p;
}

static bool jint(const char *buf, const char *key, long *out)
{
	const char *p = jfind(buf, key);
	if (!p) {
		return false;
	}
	char *end = NULL;
	long v = strtol(p, &end, 10);
	if (end == p) {
		return false;
	}
	*out = v;
	return true;
}

static bool jstr(const char *buf, const char *key, char *out, size_t n)
{
	const char *p = jfind(buf, key);
	if (!p || *p != '"') {
		return false;
	}
	p++;
	size_t i = 0;
	while (*p && *p != '"' && i < n - 1) {
		out[i++] = *p++;
	}
	out[i] = '\0';
	return true;
}

/* 1..256 을 2^n 으로 절사 */
static uint16_t pow2_floor(long v)
{
	uint16_t p = 1;
	while ((p << 1) <= v && p < 256) {
		p <<= 1;
	}
	return p;
}

bool cmd_parse(const char *json, size_t len, struct cmd *out,
	       const struct pstat_config *base)
{
	char buf[192];
	size_t n = (len < sizeof(buf) - 1) ? len : sizeof(buf) - 1;
	memcpy(buf, json, n);
	buf[n] = '\0';

	char c[16];
	if (!jstr(buf, "cmd", c, sizeof(c))) {
		return false;
	}

	memset(out, 0, sizeof(*out));
	long v;

	if (!strcmp(c, "ack")) {
		out->type = CMD_ACK;
		if (jint(buf, "seq", &v)) {
			out->ack_seq = (uint32_t)v;
		}
		return true;
	}
	if (!strcmp(c, "stop")) {
		out->type = CMD_STOP;
		return true;
	}
	if (!strcmp(c, "status")) {
		out->type = CMD_STATUS;
		return true;
	}
	if (!strcmp(c, "zero")) {
		out->type = CMD_ZERO;
		return true;
	}
	if (!strcmp(c, "cal")) {
		out->type = CMD_CAL;
		out->cal_kohm = 1000;   /* 기본 1 MΩ 더미셀 */
		if (jint(buf, "kohm", &v)) {
			out->cal_kohm = (uint32_t)CLAMP(v, 1, 100000);
		}
		return true;
	}
	if (!strcmp(c, "config") || !strcmp(c, "start")) {
		out->type = strcmp(c, "start") ? CMD_CONFIG : CMD_START;
		out->cfg = *base;   /* 미지정 필드는 현재값 유지 */

		if (jint(buf, "rate", &v)) {
			out->cfg.rate_hz = (uint16_t)CLAMP(v, 1, 100);
		}
		char m[12];
		if (jstr(buf, "mode", m, sizeof(m))) {
			if (!strcmp(m, "continuous")) {
				out->cfg.mode = PSTAT_MODE_CONTINUOUS;
			} else if (!strcmp(m, "timed")) {
				out->cfg.mode = PSTAT_MODE_TIMED;
			} else if (!strcmp(m, "cycle")) {
				out->cfg.mode = PSTAT_MODE_CYCLE;
			}
		}
		/* 초 값 상한: *1000(ms) 가 uint32 를 넘지 않게 */
		if (jint(buf, "dur", &v)) {
			out->cfg.duration_s = (uint32_t)CLAMP(v, 0, 4000000);
		}
		if (jint(buf, "on", &v)) {
			out->cfg.on_s = (uint32_t)CLAMP(v, 0, 4000000);
		}
		if (jint(buf, "off", &v)) {
			out->cfg.off_s = (uint32_t)CLAMP(v, 0, 4000000);
		}
		if (jint(buf, "cycles", &v)) {
			out->cfg.cycles = (uint32_t)MAX(v, 0);
		}
		if (jint(buf, "auto", &v)) {
			out->cfg.autorange = (v != 0);
		}
		if (jint(buf, "range", &v)) {
			out->cfg.range_idx = (uint8_t)CLAMP(v, 0, GAIN_N - 1);
		}
		if (jint(buf, "agg", &v)) {
			out->cfg.agg = (v != 0);
		}
		/* --- 하드웨어 파라미터 (지정 시 NVM 저장 플래그) --- */
		if (jint(buf, "rf", &v)) {
			out->cfg.rf_ohm = (uint32_t)CLAMP(v, 10000, 100000000);
			out->hw_changed = true;
		}
		if (jint(buf, "os", &v)) {
			out->cfg.oversample = pow2_floor(CLAMP(v, 1, 256));
			out->hw_changed = true;
		}
		return true;
	}
	return false;
}
```

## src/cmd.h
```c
/*
 * cmd.h — BLE(NUS) JSON 명령 파서 (AD5941 버전과 프로토콜 호환 + 확장)
 *  기존 명령 (앱 무수정 동작):
 *   {"cmd":"start","mode":"cycle","rate":10,"on":5,"off":295,"cycles":0,"auto":1}
 *   {"cmd":"config",...}   {"cmd":"stop"}   {"cmd":"status"}   {"cmd":"ack","seq":N}
 *  확장 (측정 파라미터 — config/start 에 추가 필드로):
 *   "rf":1000000      TIA RF [Ω] (보드에서 교체 시 알려줌, NVM 저장)
 *   "os":64           SAADC 하드웨어 오버샘플 (1..256, 2^n 절사, NVM 저장)
 *   "auto":0,"range":2  게인 수동 고정 (0=±150nA … 2=±2.1µA @1MΩ)
 *   "agg":1           요약 모드 — 측정구간당 ∫I·dt 후반부 기울기 1샘플만 (raw 폐기)
 *  확장 (캘리브레이션):
 *   {"cmd":"zero"}              셀 오픈 상태에서 게인별 제로 오프셋 측정+저장
 *   {"cmd":"cal","kohm":1000}   기지저항 더미셀로 스케일 보정 (I=512mV/R)
 *  전위는 하드웨어 고정(+0.512V)이라 명령에 없음.
 */
#ifndef CMD_H_
#define CMD_H_

#include "pstat.h"
#include <stddef.h>

enum cmd_type {
	CMD_NONE = 0,
	CMD_CONFIG,
	CMD_START,
	CMD_STOP,
	CMD_ACK,
	CMD_STATUS,
	CMD_ZERO,      /* 제로(오프셋) 캘리브레이션 */
	CMD_CAL,       /* 스케일 캘리브레이션 (기지저항) */
};

struct cmd {
	enum cmd_type type;
	struct pstat_config cfg; /* CONFIG/START: base 에서 시작해 지정 필드만 덮음 */
	uint32_t ack_seq;        /* ACK */
	uint32_t cal_kohm;       /* CAL: 더미셀 저항 [kΩ] */
	bool     hw_changed;     /* rf/os 필드가 실제로 지정됨 → NVM 저장 필요 */
};

/* JSON 한 줄 파싱. base=현재 설정(미지정 필드 기본값). 성공 시 true. */
bool cmd_parse(const char *json, size_t len, struct cmd *out,
	       const struct pstat_config *base);

#endif /* CMD_H_ */
```

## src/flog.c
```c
/*
 * flog.c — 플래시 오프라인 백로그 구현 (설계는 flog.h 참조)
 *
 *  포지션 체계: tail_pos/head_pos 는 단조증가 레코드 카운터.
 *   페이지번호 page_no = pos / REC_PER_PG, 물리 페이지 = page_no % N_PAGES.
 *  nRF52 내부 플래시: 4KB 페이지, 4바이트 워드 쓰기, 지운 상태 = 0xFF.
 *  BLE 공존은 Zephyr 플래시 드라이버의 radio-sync 가 처리 (MPSL 타임슬롯).
 */
#include "flog.h"

#include <zephyr/kernel.h>
#include <zephyr/storage/flash_map.h>
#include <zephyr/logging/log.h>
#include <string.h>

LOG_MODULE_REGISTER(flog, LOG_LEVEL_INF);

#define PAGE_SZ    4096U
#define REC_SZ     16U                       /* sizeof(pstat_sample) 고정 확인 */
#define HDR_SZ     16U
#define REC_PER_PG ((PAGE_SZ - HDR_SZ) / REC_SZ)   /* 255 */

#define HDR_MAGIC  0x50464C31U               /* "1LFP" (LE) */
#define REC_MARK0  0x5AU
#define REC_MARK1  0xA5U

struct page_hdr {
	uint32_t magic;
	uint32_t page_no;    /* 단조증가 (물리 = page_no % N_PAGES) */
	uint32_t rsv0;
	uint32_t rsv1;
};

BUILD_ASSERT(sizeof(struct pstat_sample) == REC_SZ, "record size");
BUILD_ASSERT(sizeof(struct page_hdr) == HDR_SZ, "header size");

static const struct flash_area *fa;
static uint32_t n_pages;
static uint32_t tail_pos, head_pos;   /* 레코드 단위 절대 카운터 */
static bool     had_gap;
static bool     usable;

/* CRC-8 (poly 0x31), seq..range 13바이트 대상 */
static uint8_t crc8(const uint8_t *p, size_t n)
{
	uint8_t c = 0xFF;
	while (n--) {
		c ^= *p++;
		for (int i = 0; i < 8; i++) {
			c = (c & 0x80) ? (uint8_t)((c << 1) ^ 0x31) : (uint8_t)(c << 1);
		}
	}
	return c;
}

static uint32_t pg_of(uint32_t pos)   { return pos / REC_PER_PG; }
static uint32_t phys_of(uint32_t pgno){ return pgno % n_pages; }
static uint32_t rec_off(uint32_t pos)
{
	return phys_of(pg_of(pos)) * PAGE_SZ + HDR_SZ + (pos % REC_PER_PG) * REC_SZ;
}

static bool rec_valid(const struct pstat_sample *r)
{
	return r->_pad[1] == REC_MARK0 && r->_pad[2] == REC_MARK1 &&
	       r->_pad[0] == crc8((const uint8_t *)r, 13);
}

static int erase_phys(uint32_t phys)
{
	return flash_area_erase(fa, phys * PAGE_SZ, PAGE_SZ);
}

int flog_init(void)
{
	if (flash_area_open(FIXED_PARTITION_ID(flog_partition), &fa) != 0) {
		LOG_ERR("flog partition open 실패 — 백로그 비활성");
		return -1;
	}
	n_pages = fa->fa_size / PAGE_SZ;

	/* 스캔: 유효 헤더의 min/max page_no 로 tail/head 페이지 복원 */
	bool any = false;
	uint32_t min_no = 0, max_no = 0;
	for (uint32_t p = 0; p < n_pages; p++) {
		struct page_hdr h;
		if (flash_area_read(fa, p * PAGE_SZ, &h, sizeof(h)) != 0) {
			continue;
		}
		if (h.magic != HDR_MAGIC || phys_of(h.page_no) != p) {
			continue;
		}
		if (!any || (int32_t)(h.page_no - max_no) > 0) max_no = h.page_no;
		if (!any || (int32_t)(min_no - h.page_no) > 0) min_no = h.page_no;
		any = true;
	}
	if (!any) {
		tail_pos = head_pos = 0;
		usable = true;
		LOG_INF("flog: 비어있음 (%u pages, %u rec/pg)", n_pages, REC_PER_PG);
		return 0;
	}
	tail_pos = min_no * REC_PER_PG;
	/* head: 최신 페이지 안에서 유효 레코드 수 세기 (write 는 순차라 앞에서부터) */
	head_pos = max_no * REC_PER_PG;
	for (uint32_t i = 0; i < REC_PER_PG; i++) {
		struct pstat_sample r;
		if (flash_area_read(fa, rec_off(head_pos), &r, REC_SZ) != 0 ||
		    !rec_valid(&r)) {
			break;
		}
		head_pos++;
	}
	usable = true;
	LOG_INF("flog: 백로그 %u개 복원 (tail=%u head=%u)",
		head_pos - tail_pos, tail_pos, head_pos);
	return 0;
}

int flog_push(const struct pstat_sample *s)
{
	if (!usable) {
		return -ENODEV;
	}
	uint32_t pgno = pg_of(head_pos);

	if ((head_pos % REC_PER_PG) == 0) {
		/* 새 페이지 진입: 링 가득이면 가장 오래된 페이지 희생 */
		if (pgno >= n_pages && pg_of(tail_pos) <= pgno - n_pages) {
			tail_pos = (pgno - n_pages + 1) * REC_PER_PG;
			had_gap = true;
		}
		if (erase_phys(phys_of(pgno)) != 0) {
			return -EIO;
		}
		struct page_hdr h = { .magic = HDR_MAGIC, .page_no = pgno,
				      .rsv0 = 0xFFFFFFFF, .rsv1 = 0xFFFFFFFF };
		if (flash_area_write(fa, phys_of(pgno) * PAGE_SZ, &h, sizeof(h)) != 0) {
			return -EIO;
		}
	}

	struct pstat_sample r = *s;
	r._pad[0] = crc8((const uint8_t *)&r, 13);
	r._pad[1] = REC_MARK0;
	r._pad[2] = REC_MARK1;
	if (flash_area_write(fa, rec_off(head_pos), &r, REC_SZ) != 0) {
		return -EIO;
	}
	head_pos++;
	return 0;
}

uint32_t flog_pending(void)
{
	return usable ? head_pos - tail_pos : 0;
}

uint32_t flog_peek_batch(struct pstat_sample *out, uint32_t max)
{
	if (!usable) {
		return 0;
	}
	uint32_t k = 0;
	uint32_t pos = tail_pos;
	while (pos < head_pos && k < max) {
		if (flash_area_read(fa, rec_off(pos), &out[k], REC_SZ) != 0 ||
		    !rec_valid(&out[k])) {
			break;   /* 손상 레코드 → 그 앞까지만 */
		}
		k++;
		pos++;
	}
	return k;
}

void flog_free_batch(uint32_t n)
{
	if (!usable) {
		return;
	}
	uint32_t old_pg = pg_of(tail_pos);
	tail_pos += n;
	if (tail_pos > head_pos) {
		tail_pos = head_pos;
	}
	/* 완전히 소비된 페이지는 즉시 지움 → 재부팅 후 중복 재전송 방지 */
	for (uint32_t pg = old_pg; pg < pg_of(tail_pos); pg++) {
		erase_phys(phys_of(pg));
	}
	if (tail_pos == head_pos && (head_pos % REC_PER_PG) != 0) {
		/* 백로그 완전 소진 — 부분 페이지도 정리하고 카운터 리셋 */
		erase_phys(phys_of(pg_of(head_pos)));
		tail_pos = head_pos = pg_of(head_pos) * REC_PER_PG;
	}
}

bool flog_gap(void)
{
	return had_gap;
}
```

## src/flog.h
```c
/*
 * flog.h — 플래시 오프라인 백로그 (웨어러블: 폰 없이 측정, 나중에 동기화)
 * ------------------------------------------------------------
 *  역할: BLE 미연결 동안 메인루프가 RAM 링(databuf)의 샘플을 내부 플래시
 *  파티션(flog_partition, 96KB)으로 옮겨 보관한다. 재연결하면 메인루프가
 *  이 백로그를 오래된 것부터 기존 {"d":...}+ack 스트림으로 재생한다
 *  (앱 무수정 — seq 재시작은 앱 파서의 "run restart" 경로가 흡수).
 *
 *  구조: 4KB 페이지 링. 페이지 = 헤더 16B + 레코드 255개×16B.
 *   - 레코드 = pstat_sample 재사용, _pad 에 CRC8+마커 → 찢어진 쓰기 검출
 *   - 페이지 헤더에 단조증가 page_no → 재부팅 후 tail/head 복원
 *   - 가득 차면 가장 오래된 페이지를 덮어씀 (flog_gap 표시)
 *   - 완전히 ack 된 페이지는 즉시 지움 (재부팅 후 중복 재전송 최소화)
 *
 *  스레딩: 모든 함수는 메인루프 전용 (측정 스레드는 databuf 만 만짐).
 *  용량: 24페이지 × 255 = 6,120샘플 ≈ cycle(5s@10Hz/5min) 기준 ~10시간.
 */
#ifndef FLOG_H_
#define FLOG_H_

#include "pstat.h"

int      flog_init(void);       /* 파티션 스캔, tail/head 복원. <0 = 사용불가 */
int      flog_push(const struct pstat_sample *s);
uint32_t flog_pending(void);    /* 미동기화 레코드 수 */
/* tail 부터 max 개 복사 (tail 전진 안함). 반환 = 개수 */
uint32_t flog_peek_batch(struct pstat_sample *out, uint32_t max);
void     flog_free_batch(uint32_t n);   /* ack 확인분 해제 + 완료 페이지 지움 */
bool     flog_gap(void);        /* 덮어쓰기 손실 발생 여부 */

#endif /* FLOG_H_ */
```

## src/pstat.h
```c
/*
 * pstat.h — 디스크리트 포텐쇼스탯(nRF52832 SAADC 직접측정) 공유 타입
 * ------------------------------------------------------------
 * AD5941 버전과의 차이:
 *  - MCU 가 직접 ADC (SAADC 차동: AIN0=TIA_OUT − AIN1=VREF 1.024V)
 *  - 레인지 = SAADC 게인 인덱스 (RTIA 전환 아님 — RF 는 고정 저항)
 *  - RF/오버샘플링은 보드에서 교체/조정 가능하므로 런타임 설정값 (NVM 저장)
 * 전위는 하드웨어 고정(+0.512V, VREF 1:1 분압)이므로 config 에 전압 필드 없음.
 */
#ifndef PSTAT_H_
#define PSTAT_H_

#include <stdint.h>
#include <stdbool.h>

/* 실행 모드 */
enum pstat_mode {
	PSTAT_MODE_CONTINUOUS = 0, /* 무한 (stop 까지) */
	PSTAT_MODE_TIMED,          /* duration_s 후 자동정지 */
	PSTAT_MODE_CYCLE,          /* on_s 측정 / off_s 대기(AFE off) 반복 */
};

/* 실행 상태 */
enum pstat_state {
	PSTAT_IDLE = 0,
	PSTAT_RUN,        /* 측정중 */
	PSTAT_CYCLE_REST, /* cycle 대기 (AFE 전원 off) */
};

/* SAADC 게인 레인지: index0 = 최고감도. FS(ΔV) = ±0.6V/gain */
#define GAIN_N 3   /* 0: gain4(±0.15V) / 1: gain1(±0.6V) / 2: gain1/2(±1.2V) */

/* 앱에서 받는 측정 설정 (BLE config/start 로 갱신, rf/os 는 NVM 저장) */
struct pstat_config {
	uint16_t rate_hz;    /* 출력 샘플레이트 1~100 */
	uint8_t  mode;       /* enum pstat_mode */
	bool     autorange;  /* true=SAADC 게인 오토레인지 */
	uint8_t  range_idx;  /* 수동/시작 게인 인덱스 (0..GAIN_N-1) */
	uint32_t duration_s; /* TIMED: 측정 시간 */
	uint32_t on_s;       /* CYCLE: 측정 구간 */
	uint32_t off_s;      /* CYCLE: 대기 구간 */
	uint32_t cycles;     /* CYCLE: 반복 횟수 (0=무한) */
	uint8_t  agg;        /* 1=요약 모드: 측정구간 후반부 Q(t)=∫I·dt 선형회귀
	                      * 기울기(=정상상태 전류) 1샘플만 저장/전송 (raw 폐기).
	                      * CYCLE/TIMED 전용 — CONTINUOUS 는 무시(raw) */
	/* --- 하드웨어 파라미터 (RF/CF 교체 시 앱에서 변경, NVM 저장) --- */
	uint32_t rf_ohm;     /* TIA 피드백 저항 [Ω] (기본 1M, 5.1M/10M 교체 가능) */
	uint16_t oversample; /* SAADC 하드웨어 오버샘플 1/2/4/…/256 (2^n 으로 반올림) */
};

/* 캘리브레이션 (NVM 저장) */
struct pstat_cal {
	float scale;            /* 전류 스케일 (더미셀 보정, 기본 1.0) */
	float off_nA[GAIN_N];   /* 게인별 제로 오프셋 [nA] (셀 오픈 보정) */
};

/* 한 측정 샘플 (16바이트) — 전송 포맷 [seq,t_ms,current_nA,range] 동일 */
struct pstat_sample {
	uint32_t seq;        /* 전역 시퀀스, databuf 가 부여 */
	uint32_t t_ms;       /* 런 시작 후 경과 ms */
	float    current_nA; /* 전류 (게인/RF/캘리브레이션 반영) */
	uint8_t  range_idx;  /* 이 샘플의 SAADC 게인 인덱스 */
	uint8_t  _pad[3];
};

#endif /* PSTAT_H_ */
```
